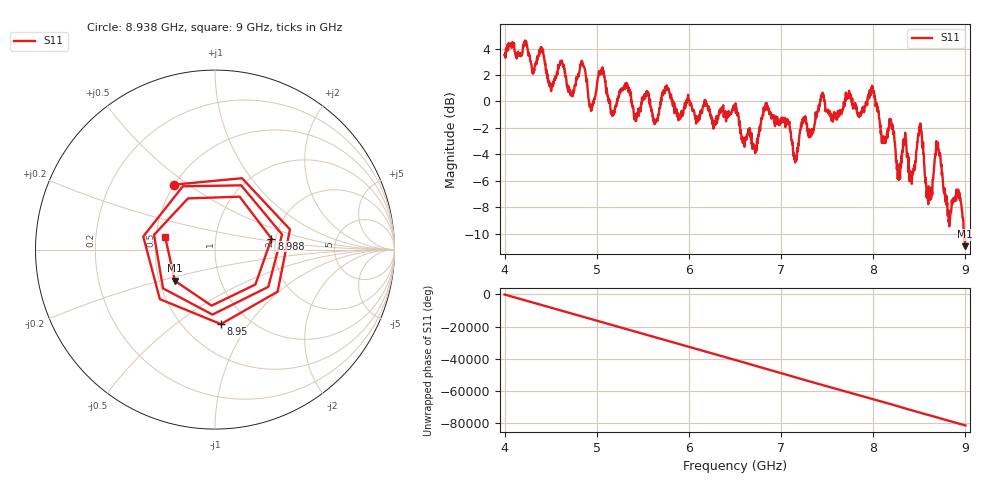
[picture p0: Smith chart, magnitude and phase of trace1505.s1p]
! Created with skrf 1.8.0 (http://scikit-rf.org).
# Hz S RI R 50.0
!freq ReS11 ImS11
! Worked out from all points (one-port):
!   1601 points, 4 GHz to 9 GHz, reference 50 ohm
!   lowest |S11| = -11.0 dB at 8.997 GHz (marker M1), VSWR 1.79, Z = 30.1 - j11.4 ohm
!   |S11| at or under -10 dB: 8.98855 GHz to end of sweep
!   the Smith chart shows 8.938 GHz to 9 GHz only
!   S11 on the Smith chart (normalised r, x): 8.938 GHz: 0.50, +0.44; 8.95 GHz: 0.75, -0.75; 8.988 GHz: 1.90, +0.26; 9 GHz: 0.56, +0.09
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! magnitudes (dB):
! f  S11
! 4 GHz  3.5
! 4.625 GHz  2.9
! 4.731 GHz  0.4
! 4.85 GHz  2.8
! 4.941 GHz  -0.3
! 5.047 GHz  2.3
! 5.172 GHz  -0.8
! 5.25 GHz  0.7
! 5.875 GHz  -1.0
! 6.5 GHz  -0.3
! 6.709 GHz  -3.6
! 6.838 GHz  -0.2
! 7.125 GHz  -3.1
! 7.75 GHz  0.2
! 7.997 GHz  0.8
! 8.106 GHz  -2.9
! 8.2 GHz  -1.8
! 8.272 GHz  -5.6
! 8.375 GHz  -4.0
! 8.509 GHz  -2.2
! 8.603 GHz  -6.4
! 8.7 GHz  -3.3
! 8.822 GHz  -8.9
! 8.938 GHz  -7.3
! 8.95 GHz  -7.6
! 8.988 GHz  -9.9
! 8.997 GHz  -11.0
! 9 GHz  -10.8
